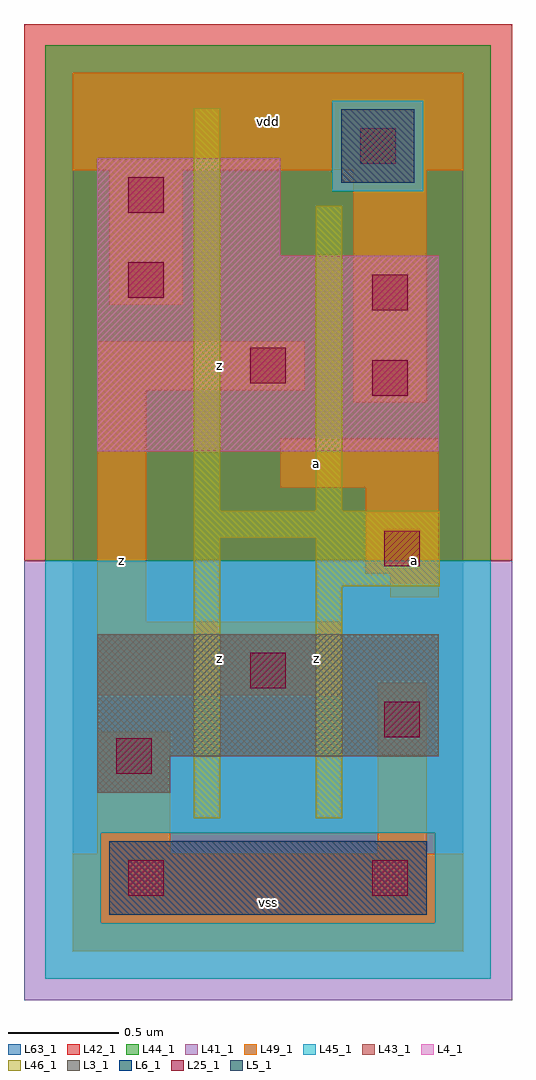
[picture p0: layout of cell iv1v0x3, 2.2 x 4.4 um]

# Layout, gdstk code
import gdstk
lib = gdstk.Library(unit=1e-6, precision=1e-09)
def R(c, l, rs):  # rectangles x0, y0, x1, y1
    for r in rs: c.add(gdstk.rectangle(r[:2], r[2:], *l))
L3_1 = (3, 1)
L4_1 = (4, 1)
L5_1 = (5, 1)
L6_1 = (6, 1)
L25_1 = (25, 1)
L41_1 = (41, 1)
L42_1 = (42, 1)
L43_1 = (43, 1)
L44_1 = (44, 1)
L45_1 = (45, 1)
L46_1 = (46, 1)
L49_1 = (49, 1)
L63_1 = (63, 1)

iv1v0x3 = lib.new_cell('iv1v0x3')
R(iv1v0x3, L3_1, [(0.11,0.715,0.44,0.88), (0.11,0.88,1.65,1.43)])
R(iv1v0x3, L4_1, [(0.11,2.255,1.65,3.135), (0.11,3.135,0.935,3.575)])
R(iv1v0x3, L5_1, [(1.21,3.465,1.54,3.795)])
R(iv1v0x3, L6_1, [(0.165,0.165,1.595,0.495)])
R(iv1v0x3, L25_1, [(0.25,0.25,0.41,0.41), (1.35,0.25,1.51,0.41), (0.195,0.8,0.355,0.96), (1.405,0.965,1.565,1.125), (0.8,1.185,0.96,1.345), (1.405,1.735,1.565,1.895), (1.35,2.505,1.51,2.665), (0.8,2.56,0.96,2.72), (1.35,2.89,1.51,3.05), (0.25,2.945,0.41,3.105), (0.25,3.33,0.41,3.49), (1.295,3.55,1.455,3.71)])
R(iv1v0x3, L41_1, [(-0.22,-0.22,1.98,1.76)])
R(iv1v0x3, L42_1, [(-0.22,1.76,1.98,4.18)])
R(iv1v0x3, L43_1, [(0.165,0.165,1.595,0.495), (0.11,0.715,0.44,0.88), (0.11,0.88,1.65,1.43), (0.11,2.255,1.65,3.135), (0.11,3.135,0.935,3.575), (1.21,3.465,1.54,3.795)])
R(iv1v0x3, L44_1, [(0.125,0.125,1.635,0.535), (-0.125,1.76,1.885,3.425), (-0.125,3.425,1.17,3.835), (1.58,3.425,1.885,3.835), (-0.125,3.835,1.885,4.085)])
R(iv1v0x3, L45_1, [(-0.125,-0.125,1.885,0.125), (-0.125,0.125,0.125,0.535), (1.635,0.125,1.885,0.535), (-0.125,0.535,1.885,1.76), (1.17,3.425,1.58,3.835)])
R(iv1v0x3, L46_1, [(0.545,0.6,0.665,1.865), (1.095,0.6,1.215,1.645), (1.095,1.645,1.655,1.865), (0.545,1.865,1.655,1.985), (0.545,1.985,0.665,3.8), (1.095,1.985,1.215,3.36)])
R(iv1v0x3, L49_1, [(0,0,1.76,0.44), (0.11,0.44,0.44,0.99), (1.375,0.44,1.595,1.21), (0.11,1.155,1.21,1.485), (0.11,1.485,0.33,2.53), (1.43,1.595,1.65,1.705), (1.32,1.705,1.65,2.09), (0.935,2.09,1.65,2.31), (1.265,2.475,1.595,3.52), (0.11,2.53,1.045,2.75), (0.165,2.915,0.495,3.52), (0,3.52,1.76,3.96)])
R(iv1v0x3, L63_1, [(0,0,1.76,3.96)])
iv1v0x3.add(gdstk.Label('z', (0.22,1.76), layer=49, texttype=1))
iv1v0x3.add(gdstk.Label('z', (0.66,1.32), layer=49, texttype=1))
iv1v0x3.add(gdstk.Label('z', (0.66,2.64), layer=49, texttype=1))
iv1v0x3.add(gdstk.Label('vss', (0.88,0.22), layer=49, texttype=1))
iv1v0x3.add(gdstk.Label('z', (1.1,1.32), layer=49, texttype=1))
iv1v0x3.add(gdstk.Label('a', (1.1,2.2), layer=49, texttype=1))
iv1v0x3.add(gdstk.Label('vdd', (0.88,3.74), layer=49, texttype=1))
iv1v0x3.add(gdstk.Label('a', (1.54,1.76), layer=49, texttype=1))

lib.write_gds('iv1v0x3.gds')
